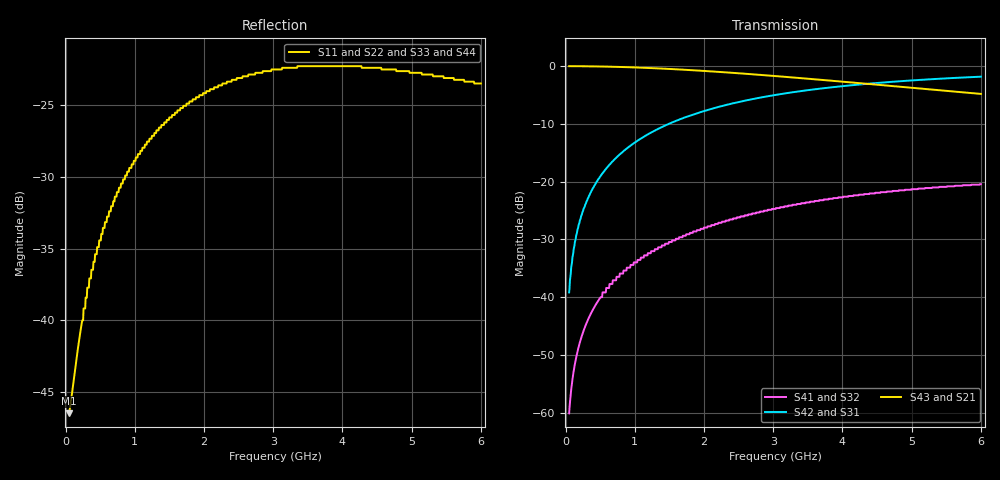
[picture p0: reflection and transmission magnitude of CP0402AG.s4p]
!	AVX THIN FILM OPERATION
!	CP0402 HIGH DIRECTIVITY COUPLERS
!	P/N CP0402AxxxxGNTR
!	Updated 6 September 2013
# MHZ S MA R 50
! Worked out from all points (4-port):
!   1000 points, 50 MHz to 6 GHz, reference 50 ohm
!   strongest paths, dB at 50 MHz, 1.539 GHz, 3.028 GHz, 4.517 GHz, 6 GHz:
!     S43: 0.0, -0.5, -1.7, -3.3, -4.8
!     S21: 0.0, -0.5, -1.7, -3.3, -4.8
!     S42: -39.2, -9.8, -5.0, -2.9, -1.9
!     S31: -39.2, -9.8, -5.0, -2.9, -1.9
!     S41: -60.1, -30.2, -24.7, -21.9, -20.4
!     S32: -60.1, -30.2, -24.7, -21.9, -20.4
!   lowest |S11| = -46.5 dB at 50 MHz (marker M1), VSWR 1.01, Z = 50.4 - j0.198 ohm
!   |S11| at or under -10 dB: start of sweep to end of sweep
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50  0.004738 -24.4  0.996 -0.6  0.011 89.4  0.0009893 88.1
    0.996 -0.6  0.004738 -24.4  0.0009893 88.1  0.011 89.4
    0.011 89.4  0.0009893 88.1  0.004738 -24.4  0.996 -0.6
    0.0009893 88.1  0.011 89.4  0.996 -0.6  0.004738 -24.4
181.031  0.008096 -60.9  0.995 -2.1  0.04 87.8  0.003582 83.3
         0.995 -2.1  0.008096 -60.9  0.003582 83.3  0.04 87.8
         0.04 87.8  0.003582 83.3  0.008096 -60.9  0.995 -2.1
         0.003582 83.3  0.04 87.8  0.995 -2.1  0.008096 -60.9
401.401  0.016 -81.2  0.992 -4.7  0.089 85.2  0.007948 75.3
         0.992 -4.7  0.016 -81.2  0.007948 75.3  0.089 85.2
         0.089 85.2  0.007948 75.3  0.016 -81.2  0.992 -4.7
         0.007948 75.3  0.089 85.2  0.992 -4.7  0.016 -81.2
764.715  0.028 -95.1  0.981 -8.9  0.168 81.0  0.015 62.3
         0.981 -8.9  0.028 -95.1  0.015 62.3  0.168 81.0
         0.168 81.0  0.015 62.3  0.028 -95.1  0.981 -8.9
         0.015 62.3  0.168 81.0  0.981 -8.9  0.028 -95.1
1330.531  0.046 -108.1  0.953 -15.1  0.284 74.7  0.026 43.3
          0.953 -15.1  0.046 -108.1  0.026 43.3  0.284 74.7
          0.284 74.7  0.026 43.3  0.046 -108.1  0.953 -15.1
          0.026 43.3  0.284 74.7  0.953 -15.1  0.046 -108.1
3159.009  0.076 -134.5  0.806 -32.1  0.577 57.5  0.061 -4.2
          0.806 -32.1  0.076 -134.5  0.061 -4.2  0.577 57.5
          0.577 57.5  0.061 -4.2  0.076 -134.5  0.806 -32.1
          0.061 -4.2  0.577 57.5  0.806 -32.1  0.076 -134.5
6000  0.067 -148.4  0.573 -48.8  0.808 41.0  0.095 -42.3
      0.573 -48.8  0.067 -148.4  0.095 -42.3  0.808 41.0
      0.808 41.0  0.095 -42.3  0.067 -148.4  0.573 -48.8
      0.095 -42.3  0.808 41.0  0.573 -48.8  0.067 -148.4
